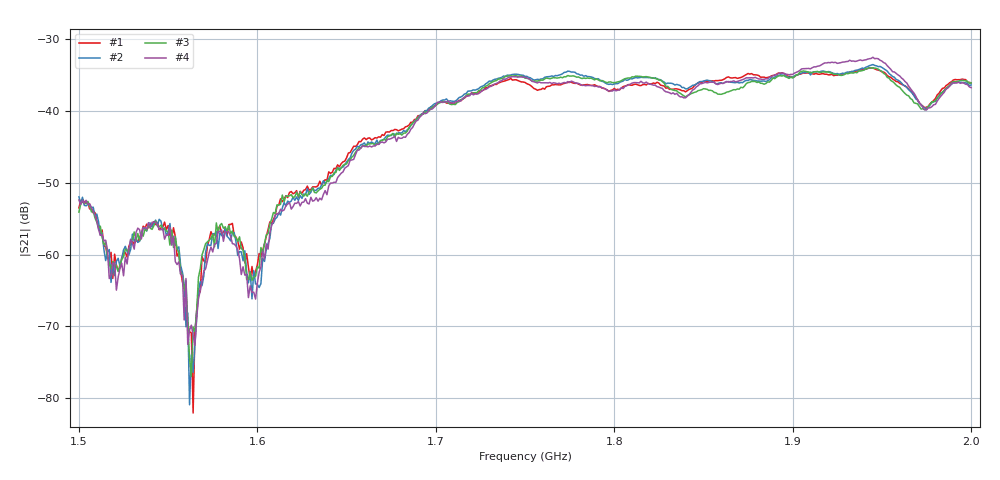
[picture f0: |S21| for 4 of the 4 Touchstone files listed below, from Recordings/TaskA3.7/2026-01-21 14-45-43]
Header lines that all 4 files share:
! NanoVNA-App by SYSJOINT et al v1.1.209 (+OD18)
! Start: 1,5GHz Stop: 2GHz Points: 501
! S-Parameter data: F S11 S21 S12 S22
# Hz S RI R 50
!  Frequency  S11_Real  S11_Imag  S21_Real  S21_Imag  S12_Real  S12_Imag  S22_Real  S22_Imag
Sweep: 1.5 GHz to 2 GHz
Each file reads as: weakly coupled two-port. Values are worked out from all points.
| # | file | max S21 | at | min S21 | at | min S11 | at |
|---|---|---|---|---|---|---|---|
| 1 | 0.s2p | -34.02 dB | 1.945 GHz | -82.1 dB | 1.564 GHz | -29.9 dB | 1.817 GHz |
| 2 | 1.s2p | -33.54 dB | 1.945 GHz | -80.9 dB | 1.562 GHz | -30.7 dB | 1.817 GHz |
| 3 | 2.s2p | -33.99 dB | 1.943 GHz | -77.0 dB | 1.563 GHz | -30.4 dB | 1.816 GHz |
| 4 | 3.s2p | -32.52 dB | 1.945 GHz | -72.7 dB | 1.565 GHz | -30.3 dB | 1.817 GHz |
